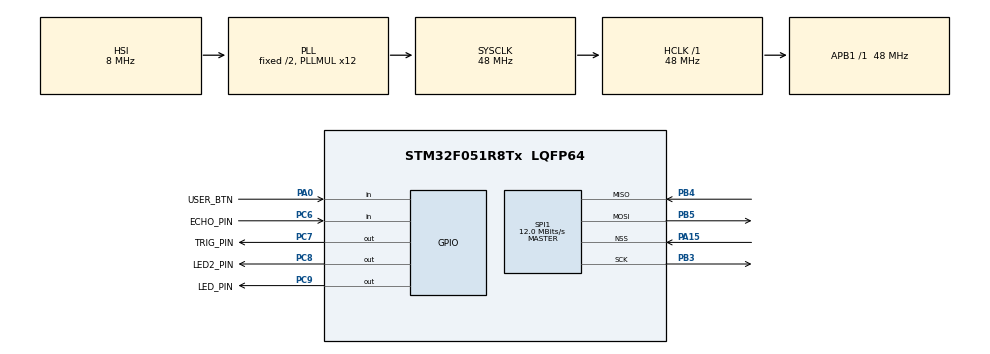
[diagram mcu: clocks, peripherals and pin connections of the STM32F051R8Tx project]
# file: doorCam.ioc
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FREERTOS.Tasks01=defaultTask,0,128,StartDefaultTask,Default,NULL,Dynamic,NULL,NULL
FREERTOS.configUSE_TIMERS=0
Mcu.Family=STM32F0
Mcu.Name=STM32F051R8Tx
Mcu.Package=LQFP64
NVIC.SPI1_IRQn=true\:3\:0\:false\:false\:true\:true\:true\:true\:true
NVIC.TIM1_BRK_UP_TRG_COM_IRQn=true\:3\:0\:false\:false\:true\:false\:false\:true\:true
NVIC.TimeBase=TIM1_BRK_UP_TRG_COM_IRQn
NVIC.TimeBaseIP=TIM1
PA0.GPIO_Label=USER_BTN
PA0.Signal=GPIO_Input
PA15.Mode=NSS_Signal_Hard_Input
PA15.Signal=SPI1_NSS
PB3.Mode=Full_Duplex_Master
PB3.Signal=SPI1_SCK
PB4.Mode=Full_Duplex_Master
PB4.Signal=SPI1_MISO
PB5.Mode=Full_Duplex_Master
PB5.Signal=SPI1_MOSI
PC6.GPIO_Label=ECHO_PIN
PC6.Signal=GPIO_Input
PC7.GPIO_Label=TRIG_PIN
PC7.Signal=GPIO_Output
PC8.GPIO_Label=LED2_PIN
PC8.Signal=GPIO_Output
PC9.GPIO_Label=LED_PIN
PC9.Signal=GPIO_Output
ProjectManager.HeapSize=0x200
ProjectManager.StackSize=0x400
ProjectManager.TargetToolchain=STM32CubeIDE
RCC.AHBFreq_Value=48000000
RCC.APB1Freq_Value=48000000
RCC.APB1TimFreq_Value=48000000
RCC.HCLKFreq_Value=48000000
RCC.PLLMUL=RCC_PLL_MUL12
RCC.SYSCLKFreq_VALUE=48000000
RCC.SYSCLKSource=RCC_SYSCLKSOURCE_PLLCLK
SPI1.BaudRatePrescaler=SPI_BAUDRATEPRESCALER_4
SPI1.CalculateBaudRate=12.0 MBits/s
SPI1.DataSize=SPI_DATASIZE_8BIT
SPI1.Direction=SPI_DIRECTION_2LINES
SPI1.Mode=SPI_MODE_MASTER
SPI1.VirtualNSS=VM_NSSHARD
SPI1.VirtualType=VM_MASTER
VP_FREERTOS_VS_CMSIS_V1.Mode=CMSIS_V1
VP_SYS_VS_tim1.Mode=TIM1
board=custom

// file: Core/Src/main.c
/* USER CODE BEGIN Header */
/**
  ******************************************************************************
  * @file           : main.c
  * @brief          : Main program body
  ******************************************************************************
  * @attention
  *
  * Copyright (c) 2024 STMicroelectronics.
  * All rights reserved.
  *
  * This software is licensed under terms that can be found in the LICENSE file
  * in the root directory of this software component.
  * If no LICENSE file comes with this software, it is provided AS-IS.
  *
  ******************************************************************************
  */
/* USER CODE END Header */
#include "main.h"
#include "cmsis_os.h"

SPI_HandleTypeDef hspi1;

osThreadId defaultTaskHandle;
/* USER CODE BEGIN PV */
void vSPITestTask(void* pvParameters);
void vUButtonPressed(void* pvParameters);
QueueHandle_t xButtonQueue;
/* USER CODE END PV */

void SystemClock_Config(void);
static void MX_GPIO_Init(void);
static void MX_SPI1_Init(void);
void StartDefaultTask(void const * argument);

/* USER CODE BEGIN 0 */
void vUButtonPressed(void* pvParameters){
	TickType_t xDelay250ms = pdMS_TO_TICKS( 250 );
	uint8_t iQueueValue = 1;
	TickType_t xTime = xTaskGetTickCount();

	while(1){
		if(HAL_GPIO_ReadPin(GPIOA, GPIO_PIN_0)) {
			xQueueSendToBack(xButtonQueue, &iQueueValue, 0);
			vTaskDelay(xDelay250ms);
		}
	}
}

void vSPITestTask(void* pvParameters){
	uint8_t iQueueValue;
	TickType_t xDelay250ms = pdMS_TO_TICKS( 250 );
	BaseType_t xStatus;

	while(1){
		xStatus = xQueueReceive(xButtonQueue, &iQueueValue, 100);
		if(xStatus == pdPASS)
		{
			HAL_GPIO_WritePin(GPIOC, GPIO_PIN_9, GPIO_PIN_SET);
			HAL_SPI_Transmit(&hspi1, &iQueueValue, 2, 1000);
			HAL_Delay(100);
		    HAL_GPIO_WritePin(GPIOC, GPIO_PIN_9, GPIO_PIN_RESET);
		}

		vTaskDelay(xDelay250ms);
	}
}
/* USER CODE END 0 */

int main(void)
{

  /* MCU Configuration--------------------------------------------------------*/

  /* Reset of all peripherals, Initializes the Flash interface and the Systick. */
  HAL_Init();

  /* Configure the system clock */
  SystemClock_Config();

  /* Initialize all configured peripherals */
  MX_GPIO_Init();
  MX_SPI1_Init();

  /* USER CODE BEGIN RTOS_QUEUES */
  /* add queues, ... */
  xButtonQueue = xQueueCreate(10, sizeof(uint8_t));
  /* USER CODE END RTOS_QUEUES */

  /* Create the thread(s) */
  /* definition and creation of defaultTask */
  osThreadDef(defaultTask, StartDefaultTask, osPriorityNormal, 0, 128);
  defaultTaskHandle = osThreadCreate(osThread(defaultTask), NULL);

  /* USER CODE BEGIN RTOS_THREADS */
  if(xButtonQueue != NULL){
	  xTaskCreate(vSPITestTask, "SPI_Test", 100, NULL, 1, NULL);
	  xTaskCreate(vUButtonPressed, "User button pressed", 100, NULL, 1, NULL);
  }

  /* add threads, ... */
  /* USER CODE END RTOS_THREADS */

  /* Start scheduler */
  osKernelStart();

  /* We should never get here as control is now taken by the scheduler */

  /* Infinite loop */
  while (1)
  {

  }
}

void SystemClock_Config(void)
{
  RCC_OscInitTypeDef RCC_OscInitStruct = {0};
  RCC_ClkInitTypeDef RCC_ClkInitStruct = {0};

  /** Initializes the RCC Oscillators according to the specified parameters
  * in the RCC_OscInitTypeDef structure.
  */
  RCC_OscInitStruct.OscillatorType = RCC_OSCILLATORTYPE_HSI;
  RCC_OscInitStruct.HSIState = RCC_HSI_ON;
  RCC_OscInitStruct.HSICalibrationValue = RCC_HSICALIBRATION_DEFAULT;
  RCC_OscInitStruct.PLL.PLLState = RCC_PLL_ON;
  RCC_OscInitStruct.PLL.PLLSource = RCC_PLLSOURCE_HSI;
  RCC_OscInitStruct.PLL.PLLMUL = RCC_PLL_MUL12;
  RCC_OscInitStruct.PLL.PREDIV = RCC_PREDIV_DIV1;
  if (HAL_RCC_OscConfig(&RCC_OscInitStruct) != HAL_OK)
  {
    Error_Handler();
  }

  /** Initializes the CPU, AHB and APB buses clocks
  */
  RCC_ClkInitStruct.ClockType = RCC_CLOCKTYPE_HCLK|RCC_CLOCKTYPE_SYSCLK
                              |RCC_CLOCKTYPE_PCLK1;
  RCC_ClkInitStruct.SYSCLKSource = RCC_SYSCLKSOURCE_PLLCLK;
  RCC_ClkInitStruct.AHBCLKDivider = RCC_SYSCLK_DIV1;
  RCC_ClkInitStruct.APB1CLKDivider = RCC_HCLK_DIV1;

  if (HAL_RCC_ClockConfig(&RCC_ClkInitStruct, FLASH_LATENCY_1) != HAL_OK)
  {
    Error_Handler();
  }
}

static void MX_SPI1_Init(void)
{

  /* SPI1 parameter configuration*/
  hspi1.Instance = SPI1;
  hspi1.Init.Mode = SPI_MODE_MASTER;
  hspi1.Init.Direction = SPI_DIRECTION_2LINES;
  hspi1.Init.DataSize = SPI_DATASIZE_8BIT;
  hspi1.Init.CLKPolarity = SPI_POLARITY_LOW;
  hspi1.Init.CLKPhase = SPI_PHASE_1EDGE;
  hspi1.Init.NSS = SPI_NSS_HARD_INPUT;
  hspi1.Init.BaudRatePrescaler = SPI_BAUDRATEPRESCALER_4;
  hspi1.Init.FirstBit = SPI_FIRSTBIT_MSB;
  hspi1.Init.TIMode = SPI_TIMODE_DISABLE;
  hspi1.Init.CRCCalculation = SPI_CRCCALCULATION_DISABLE;
  hspi1.Init.CRCPolynomial = 7;
  hspi1.Init.CRCLength = SPI_CRC_LENGTH_DATASIZE;
  hspi1.Init.NSSPMode = SPI_NSS_PULSE_ENABLE;
  if (HAL_SPI_Init(&hspi1) != HAL_OK)
  {
    Error_Handler();
  }

}

static void MX_GPIO_Init(void)
{
  GPIO_InitTypeDef GPIO_InitStruct = {0};

  /* GPIO Ports Clock Enable */
  __HAL_RCC_GPIOA_CLK_ENABLE();
  __HAL_RCC_GPIOC_CLK_ENABLE();
  __HAL_RCC_GPIOB_CLK_ENABLE();

  /*Configure GPIO pin Output Level */
  HAL_GPIO_WritePin(LED_PIN_GPIO_Port, LED_PIN_Pin, GPIO_PIN_RESET);

  /*Configure GPIO pin : PA0 */
  GPIO_InitStruct.Pin = GPIO_PIN_0;
  GPIO_InitStruct.Mode = GPIO_MODE_INPUT;
  GPIO_InitStruct.Pull = GPIO_NOPULL;
  HAL_GPIO_Init(GPIOA, &GPIO_InitStruct);

  /*Configure GPIO pin : LED_PIN_Pin */
  GPIO_InitStruct.Pin = LED_PIN_Pin;
  GPIO_InitStruct.Mode = GPIO_MODE_OUTPUT_PP;
  GPIO_InitStruct.Pull = GPIO_NOPULL;
  GPIO_InitStruct.Speed = GPIO_SPEED_FREQ_LOW;
  HAL_GPIO_Init(LED_PIN_GPIO_Port, &GPIO_InitStruct);

}

void StartDefaultTask(void const * argument)
{
  for(;;)
  {
    osDelay(1);
  }
}

void HAL_TIM_PeriodElapsedCallback(TIM_HandleTypeDef *htim)
{
  if (htim->Instance == TIM1) {
    HAL_IncTick();
  }
}

void Error_Handler(void)
{
  __disable_irq();
  while (1)
  {
  }
}
